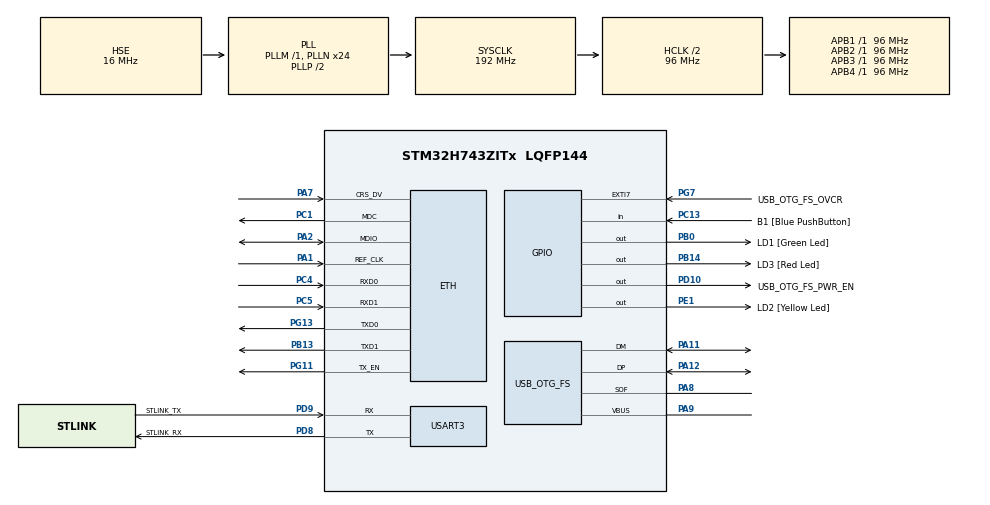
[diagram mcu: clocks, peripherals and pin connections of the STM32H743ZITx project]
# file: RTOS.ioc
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ETH.MediaInterface=HAL_ETH_RMII_MODE
Mcu.Family=STM32H7
Mcu.Name=STM32H743ZITx
Mcu.Package=LQFP144
NVIC.PriorityGroup=NVIC_PRIORITYGROUP_4
NVIC.TIM6_DAC_IRQn=true\:0\:0\:false\:false\:true\:false\:true
NVIC.TimeBase=TIM6_DAC_IRQn
NVIC.TimeBaseIP=TIM6
PA1.Mode=RMII
PA1.Signal=ETH_REF_CLK
PA11.Mode=Device_Only
PA11.Signal=USB_OTG_FS_DM
PA12.Mode=Device_Only
PA12.Signal=USB_OTG_FS_DP
PA2.Mode=RMII
PA2.Signal=ETH_MDIO
PA7.Mode=RMII
PA7.Signal=ETH_CRS_DV
PA8.Mode=Activate_SOF_FS
PA8.Signal=USB_OTG_FS_SOF
PA9.Mode=Activate_VBUS
PA9.Signal=USB_OTG_FS_VBUS
PB0.GPIO_Label=LD1 [Green Led]
PB0.Signal=GPIO_Output
PB13.Mode=RMII
PB13.Signal=ETH_TXD1
PB14.GPIO_Label=LD3 [Red Led]
PB14.Signal=GPIO_Output
PC1.Mode=RMII
PC1.Signal=ETH_MDC
PC13.GPIO_Label=B1 [Blue PushButton]
PC13.Signal=GPIO_Input
PC14-OSC32_IN\ (OSC32_IN).Mode=LSE-External-Oscillator
PC14-OSC32_IN\ (OSC32_IN).Signal=RCC_OSC32_IN
PC15-OSC32_OUT\ (OSC32_OUT).Mode=LSE-External-Oscillator
PC15-OSC32_OUT\ (OSC32_OUT).Signal=RCC_OSC32_OUT
PC4.Mode=RMII
PC4.Signal=ETH_RXD0
PC5.Mode=RMII
PC5.Signal=ETH_RXD1
PD10.GPIO_Label=USB_OTG_FS_PWR_EN
PD10.Signal=GPIO_Output
PD8.GPIO_Label=STLINK_RX
PD8.Mode=Asynchronous
PD8.Signal=USART3_TX
PD9.GPIO_Label=STLINK_TX
PD9.Mode=Asynchronous
PD9.Signal=USART3_RX
PE1.GPIO_Label=LD2 [Yellow Led]
PE1.Signal=GPIO_Output
PG11.Mode=RMII
PG11.Signal=ETH_TX_EN
PG13.Mode=RMII
PG13.Signal=ETH_TXD0
PG7.GPIO_Label=USB_OTG_FS_OVCR
PG7.Signal=GPXTI7
PH0-OSC_IN\ (PH0).Mode=HSE-External-Oscillator
PH0-OSC_IN\ (PH0).Signal=RCC_OSC_IN
PH1-OSC_OUT\ (PH1).Mode=HSE-External-Oscillator
PH1-OSC_OUT\ (PH1).Signal=RCC_OSC_OUT
ProjectManager.HeapSize=0x200
ProjectManager.StackSize=0x400
ProjectManager.TargetToolchain=SW4STM32
RCC.ADCFreq_Value=32250000
RCC.APB1Freq_Value=96000000
RCC.APB2Freq_Value=96000000
RCC.APB3Freq_Value=96000000
RCC.APB4Freq_Value=96000000
RCC.CortexFreq_Value=192000000
RCC.DIVM1=1
RCC.DIVM3=1
RCC.DIVN1=24
RCC.DIVN3=12
RCC.DIVQ1=4
RCC.DIVQ3=4
RCC.HCLKFreq_Value=96000000
RCC.HPRE=RCC_HCLK_DIV2
RCC.HSE_VALUE=16000000
RCC.PLL3FRACN=0
RCC.PLLFRACN=0
RCC.SYSCLKFreq_VALUE=192000000
RCC.SYSCLKSource=RCC_SYSCLKSOURCE_PLLCLK
RCC.USBCLockSelection=RCC_USBCLKSOURCE_PLL3
RCC.USBFreq_Value=48000000
USART3.VirtualMode-Asynchronous=VM_ASYNC
USB_OTG_FS.VirtualMode=Device_Only
VP_SYS_VS_tim6.Mode=TIM6
board=NUCLEO-H743ZI2

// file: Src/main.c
/* USER CODE BEGIN Header */
/**
  ******************************************************************************
  * @file           : main.c
  * @brief          : Main program body
  ******************************************************************************
  * @attention
  *
  * <h2><center>&copy; Copyright (c) 2020 STMicroelectronics.
  * All rights reserved.</center></h2>
  *
  * This software component is licensed by ST under BSD 3-Clause license,
  * the "License"; You may not use this file except in compliance with the
  * License. You may obtain a copy of the License at:
  *                        opensource.org/licenses/BSD-3-Clause
  *
  ******************************************************************************
  */
/* USER CODE END Header */

#include "main.h"
#include "string.h"

/* USER CODE BEGIN Includes */
#include "FreeRTOS.h"
#include "task.h"
/* USER CODE END Includes */

#if defined ( __ICCARM__ ) /*!< IAR Compiler */

#pragma location=0x30040000
ETH_DMADescTypeDef  DMARxDscrTab[ETH_RX_DESC_CNT]; /* Ethernet Rx DMA Descriptors */
#pragma location=0x30040060
ETH_DMADescTypeDef  DMATxDscrTab[ETH_TX_DESC_CNT]; /* Ethernet Tx DMA Descriptors */
#pragma location=0x30040200
uint8_t Rx_Buff[ETH_RX_DESC_CNT][ETH_MAX_PACKET_SIZE]; /* Ethernet Receive Buffers */

#elif defined ( __CC_ARM )  /* MDK ARM Compiler */

__attribute__((at(0x30040000))) ETH_DMADescTypeDef  DMARxDscrTab[ETH_RX_DESC_CNT]; /* Ethernet Rx DMA Descriptors */
__attribute__((at(0x30040060))) ETH_DMADescTypeDef  DMATxDscrTab[ETH_TX_DESC_CNT]; /* Ethernet Tx DMA Descriptors */
__attribute__((at(0x30040200))) uint8_t Rx_Buff[ETH_RX_DESC_CNT][ETH_MAX_PACKET_SIZE]; /* Ethernet Receive Buffer */

#elif defined ( __GNUC__ ) /* GNU Compiler */

ETH_DMADescTypeDef DMARxDscrTab[ETH_RX_DESC_CNT] __attribute__((section(".RxDecripSection"))); /* Ethernet Rx DMA Descriptors */
ETH_DMADescTypeDef DMATxDscrTab[ETH_TX_DESC_CNT] __attribute__((section(".TxDecripSection")));   /* Ethernet Tx DMA Descriptors */
uint8_t Rx_Buff[ETH_RX_DESC_CNT][ETH_MAX_PACKET_SIZE] __attribute__((section(".RxArraySection"))); /* Ethernet Receive Buffers */

#endif

ETH_TxPacketConfig TxConfig;

ETH_HandleTypeDef heth;

UART_HandleTypeDef huart3;

PCD_HandleTypeDef hpcd_USB_OTG_FS;

/* USER CODE BEGIN PV */

static void prvSetupUART();
static void prvSetupHardware(void);
void printmsg(char *msg);
TaskHandle_t xTaskHandle1 = NULL;
TaskHandle_t xTaskHandle2 = NULL;
TaskHandle_t xTaskHandle3 = NULL;
void vTask1_handler(void *params);
void vTask1_handler(void *params);
void vTask3_handler(void *params);
#ifdef USE_SEMIHOSTING
	extern void initialise_monitor_handles();
#endif

#define AVAILABLE 1
#define NOT_AVAILABLE 0
unsigned int UART_ACCESS_KEY = AVAILABLE;
/* USER CODE END PV */

void SystemClock_Config(void);
static void MX_GPIO_Init(void);
static void MX_ETH_Init(void);
static void MX_USART3_UART_Init(void);
static void MX_USB_OTG_FS_PCD_Init(void);

/* USER CODE BEGIN 0 */
void vTask1_handler(void *params){

	while(1){
		if (UART_ACCESS_KEY == AVAILABLE) {
			UART_ACCESS_KEY = NOT_AVAILABLE;

			HAL_GPIO_TogglePin(LD2_GPIO_Port,LD2_Pin);
			printmsg("Hello world, my name is sanjay.\n");
			//vTaskDelay(20);
			UART_ACCESS_KEY = AVAILABLE;
		}
	}

}

void vTask2_handler(void *params){

	while(1){
		if (UART_ACCESS_KEY == AVAILABLE) {
			UART_ACCESS_KEY = NOT_AVAILABLE;
			HAL_GPIO_TogglePin(LD1_GPIO_Port,LD1_Pin);
			printmsg("Hello india\n");
			//vTaskDelay(20);
			UART_ACCESS_KEY = AVAILABLE;
			taskYIELD();
		}
	}
}

void vTask3_handler(void *params){
	while(1){
		if (UART_ACCESS_KEY == AVAILABLE) {
			UART_ACCESS_KEY = NOT_AVAILABLE;

			if(HAL_GPIO_ReadPin(B1_GPIO_Port, B1_Pin)){
				printmsg("hii \n");

			}
			vTaskDelay(2);
			HAL_GPIO_TogglePin(LD3_GPIO_Port,LD3_Pin);
			UART_ACCESS_KEY = AVAILABLE;
			taskYIELD();
		}
	}
}

static void prvSetupUART(void){
	 GPIO_InitTypeDef GPIO_USART3 = {0};

   __HAL_RCC_USART3_CLK_ENABLE();

   __HAL_RCC_GPIOD_CLK_ENABLE();
   /**USART3 GPIO Configuration
   PD8     ------> USART3_TX
   PD9     ------> USART3_RX
   */
   GPIO_USART3.Pin = STLINK_RX_Pin|STLINK_TX_Pin;
   GPIO_USART3.Mode = GPIO_MODE_AF_PP;
   GPIO_USART3.Pull = GPIO_NOPULL;
   GPIO_USART3.Speed = GPIO_SPEED_FREQ_LOW;
   GPIO_USART3.Alternate = GPIO_AF7_USART3;
   HAL_GPIO_Init(GPIOD, &GPIO_USART3);

   MX_USART3_UART_Init();
}

static void prvSetupHardware(void){

	prvSetupUART();
}

void printmsg(char *msg){

	for(int i=0; i < strlen(msg); i++){
//		UART_WaitOnFlagUntilTimeout(&huart3,UART_FLAG_TXE, SET, 0, 100);
		HAL_UART_Transmit(&huart3, &msg[i],1,10);
	}
#ifdef USE_SEMIHOSTING
	printf(&msg);
#endif
}

char usr_msg[250];
/* USER CODE END 0 */

int main(void)
{
  /* USER CODE BEGIN 1 */
#ifdef USE_SEMIHOSTING
	initialise_monitor_handles();
	printf("Semihosting enabled");
#endif
	DWT->CTRL |= (1<<0);
  /* USER CODE END 1 */

  /* MCU Configuration--------------------------------------------------------*/

  /* Reset of all peripherals, Initializes the Flash interface and the Systick. */
  HAL_Init();

  /* Configure the system clock */
  SystemClock_Config();

  /* Initialize all configured peripherals */
  MX_GPIO_Init();
  MX_ETH_Init();
  MX_USART3_UART_Init();
  MX_USB_OTG_FS_PCD_Init();
  /* USER CODE BEGIN 2 */

  //Start recording in SEGGER
  SEGGER_SYSVIEW_Conf();
  SEGGER_SYSVIEW_Start();

  prvSetupHardware();
  sprintf(usr_msg, "HELLO, new message \r\n");
  printmsg(usr_msg);

  xTaskCreate(vTask1_handler, "Task_Blink1", configMINIMAL_STACK_SIZE, NULL, 1, &xTaskHandle1 );
  xTaskCreate(vTask2_handler, "Task_Blink2", configMINIMAL_STACK_SIZE, NULL, 2, &xTaskHandle2 );
  xTaskCreate(vTask3_handler, "Task_Blink3", configMINIMAL_STACK_SIZE, NULL, 2, &xTaskHandle3 );

  vTaskStartScheduler();

  /* USER CODE END 2 */

  /* Infinite loop */
  while (1)
  {
//	  HAL_Delay(500);
//	  HAL_GPIO_TogglePin(LD1_GPIO_Port,LD1_Pin);
  }
}

void SystemClock_Config(void)
{
  RCC_OscInitTypeDef RCC_OscInitStruct = {0};
  RCC_ClkInitTypeDef RCC_ClkInitStruct = {0};
  RCC_PeriphCLKInitTypeDef PeriphClkInitStruct = {0};

  /** Supply configuration update enable
  */
  HAL_PWREx_ConfigSupply(PWR_LDO_SUPPLY);
  /** Configure the main internal regulator output voltage
  */
  __HAL_PWR_VOLTAGESCALING_CONFIG(PWR_REGULATOR_VOLTAGE_SCALE3);

  while(!__HAL_PWR_GET_FLAG(PWR_FLAG_VOSRDY)) {}
  /** Macro to configure the PLL clock source
  */
  __HAL_RCC_PLL_PLLSOURCE_CONFIG(RCC_PLLSOURCE_HSE);
  /** Initializes the CPU, AHB and APB busses clocks
  */
  RCC_OscInitStruct.OscillatorType = RCC_OSCILLATORTYPE_HSE;
  RCC_OscInitStruct.HSEState = RCC_HSE_ON;
  RCC_OscInitStruct.PLL.PLLState = RCC_PLL_ON;
  RCC_OscInitStruct.PLL.PLLSource = RCC_PLLSOURCE_HSE;
  RCC_OscInitStruct.PLL.PLLM = 1;
  RCC_OscInitStruct.PLL.PLLN = 24;
  RCC_OscInitStruct.PLL.PLLP = 2;
  RCC_OscInitStruct.PLL.PLLQ = 4;
  RCC_OscInitStruct.PLL.PLLR = 2;
  RCC_OscInitStruct.PLL.PLLRGE = RCC_PLL1VCIRANGE_3;
  RCC_OscInitStruct.PLL.PLLVCOSEL = RCC_PLL1VCOWIDE;
  RCC_OscInitStruct.PLL.PLLFRACN = 0;
  if (HAL_RCC_OscConfig(&RCC_OscInitStruct) != HAL_OK)
  {
    Error_Handler();
  }
  /** Initializes the CPU, AHB and APB busses clocks
  */
  RCC_ClkInitStruct.ClockType = RCC_CLOCKTYPE_HCLK|RCC_CLOCKTYPE_SYSCLK
                              |RCC_CLOCKTYPE_PCLK1|RCC_CLOCKTYPE_PCLK2
                              |RCC_CLOCKTYPE_D3PCLK1|RCC_CLOCKTYPE_D1PCLK1;
  RCC_ClkInitStruct.SYSCLKSource = RCC_SYSCLKSOURCE_PLLCLK;
  RCC_ClkInitStruct.SYSCLKDivider = RCC_SYSCLK_DIV1;
  RCC_ClkInitStruct.AHBCLKDivider = RCC_HCLK_DIV2;
  RCC_ClkInitStruct.APB3CLKDivider = RCC_APB3_DIV1;
  RCC_ClkInitStruct.APB1CLKDivider = RCC_APB1_DIV1;
  RCC_ClkInitStruct.APB2CLKDivider = RCC_APB2_DIV1;
  RCC_ClkInitStruct.APB4CLKDivider = RCC_APB4_DIV1;

  if (HAL_RCC_ClockConfig(&RCC_ClkInitStruct, FLASH_LATENCY_1) != HAL_OK)
  {
    Error_Handler();
  }
  PeriphClkInitStruct.PeriphClockSelection = RCC_PERIPHCLK_USART3|RCC_PERIPHCLK_USB;
  PeriphClkInitStruct.PLL3.PLL3M = 1;
  PeriphClkInitStruct.PLL3.PLL3N = 12;
  PeriphClkInitStruct.PLL3.PLL3P = 2;
  PeriphClkInitStruct.PLL3.PLL3Q = 4;
  PeriphClkInitStruct.PLL3.PLL3R = 2;
  PeriphClkInitStruct.PLL3.PLL3RGE = RCC_PLL3VCIRANGE_3;
  PeriphClkInitStruct.PLL3.PLL3VCOSEL = RCC_PLL3VCOWIDE;
  PeriphClkInitStruct.PLL3.PLL3FRACN = 0;
  PeriphClkInitStruct.Usart234578ClockSelection = RCC_USART234578CLKSOURCE_D2PCLK1;
  PeriphClkInitStruct.UsbClockSelection = RCC_USBCLKSOURCE_PLL3;
  if (HAL_RCCEx_PeriphCLKConfig(&PeriphClkInitStruct) != HAL_OK)
  {
    Error_Handler();
  }
  /** Enable USB Voltage detector
  */
  HAL_PWREx_EnableUSBVoltageDetector();
}

static void MX_ETH_Init(void)
{

  heth.Instance = ETH;
  heth.Init.MACAddr[0] =   0x00;
  heth.Init.MACAddr[1] =   0x80;
  heth.Init.MACAddr[2] =   0xE1;
  heth.Init.MACAddr[3] =   0x00;
  heth.Init.MACAddr[4] =   0x00;
  heth.Init.MACAddr[5] =   0x00;
  heth.Init.MediaInterface = HAL_ETH_RMII_MODE;
  heth.Init.TxDesc = DMATxDscrTab;
  heth.Init.RxDesc = DMARxDscrTab;
  heth.Init.RxBuffLen = 1524;

  if (HAL_ETH_Init(&heth) != HAL_OK)
  {
    Error_Handler();
  }

  memset(&TxConfig, 0 , sizeof(ETH_TxPacketConfig));
  TxConfig.Attributes = ETH_TX_PACKETS_FEATURES_CSUM | ETH_TX_PACKETS_FEATURES_CRCPAD;
  TxConfig.ChecksumCtrl = ETH_CHECKSUM_IPHDR_PAYLOAD_INSERT_PHDR_CALC;
  TxConfig.CRCPadCtrl = ETH_CRC_PAD_INSERT;

}

static void MX_USART3_UART_Init(void)
{

  huart3.Instance = USART3;
  huart3.Init.BaudRate = 115200;
  huart3.Init.WordLength = UART_WORDLENGTH_8B;
  huart3.Init.StopBits = UART_STOPBITS_1;
  huart3.Init.Parity = UART_PARITY_NONE;
  huart3.Init.Mode = UART_MODE_TX_RX;
  huart3.Init.HwFlowCtl = UART_HWCONTROL_NONE;
  huart3.Init.OverSampling = UART_OVERSAMPLING_16;
  huart3.Init.OneBitSampling = UART_ONE_BIT_SAMPLE_DISABLE;
  huart3.Init.ClockPrescaler = UART_PRESCALER_DIV1;
  huart3.AdvancedInit.AdvFeatureInit = UART_ADVFEATURE_NO_INIT;
  if (HAL_UART_Init(&huart3) != HAL_OK)
  {
    Error_Handler();
  }
  if (HAL_UARTEx_SetTxFifoThreshold(&huart3, UART_TXFIFO_THRESHOLD_1_8) != HAL_OK)
  {
    Error_Handler();
  }
  if (HAL_UARTEx_SetRxFifoThreshold(&huart3, UART_RXFIFO_THRESHOLD_1_8) != HAL_OK)
  {
    Error_Handler();
  }
  if (HAL_UARTEx_DisableFifoMode(&huart3) != HAL_OK)
  {
    Error_Handler();
  }

}

static void MX_USB_OTG_FS_PCD_Init(void)
{

  hpcd_USB_OTG_FS.Instance = USB_OTG_FS;
  hpcd_USB_OTG_FS.Init.dev_endpoints = 9;
  hpcd_USB_OTG_FS.Init.speed = PCD_SPEED_FULL;
  hpcd_USB_OTG_FS.Init.dma_enable = DISABLE;
  hpcd_USB_OTG_FS.Init.phy_itface = PCD_PHY_EMBEDDED;
  hpcd_USB_OTG_FS.Init.Sof_enable = ENABLE;
  hpcd_USB_OTG_FS.Init.low_power_enable = DISABLE;
  hpcd_USB_OTG_FS.Init.lpm_enable = DISABLE;
  hpcd_USB_OTG_FS.Init.battery_charging_enable = ENABLE;
  hpcd_USB_OTG_FS.Init.vbus_sensing_enable = ENABLE;
  hpcd_USB_OTG_FS.Init.use_dedicated_ep1 = DISABLE;
  if (HAL_PCD_Init(&hpcd_USB_OTG_FS) != HAL_OK)
  {
    Error_Handler();
  }

}

static void MX_GPIO_Init(void)
{
  GPIO_InitTypeDef GPIO_InitStruct = {0};

  /* GPIO Ports Clock Enable */
  __HAL_RCC_GPIOC_CLK_ENABLE();
  __HAL_RCC_GPIOH_CLK_ENABLE();
  __HAL_RCC_GPIOA_CLK_ENABLE();
  __HAL_RCC_GPIOB_CLK_ENABLE();
  __HAL_RCC_GPIOD_CLK_ENABLE();
  __HAL_RCC_GPIOG_CLK_ENABLE();
  __HAL_RCC_GPIOE_CLK_ENABLE();

  /*Configure GPIO pin Output Level */
  HAL_GPIO_WritePin(GPIOB, LD1_Pin|LD3_Pin, GPIO_PIN_RESET);

  /*Configure GPIO pin Output Level */
  HAL_GPIO_WritePin(USB_OTG_FS_PWR_EN_GPIO_Port, USB_OTG_FS_PWR_EN_Pin, GPIO_PIN_RESET);

  /*Configure GPIO pin Output Level */
  HAL_GPIO_WritePin(LD2_GPIO_Port, LD2_Pin, GPIO_PIN_RESET);

  /*Configure GPIO pin : B1_Pin */
  GPIO_InitStruct.Pin = B1_Pin;
  GPIO_InitStruct.Mode = GPIO_MODE_INPUT;
  GPIO_InitStruct.Pull = GPIO_NOPULL;
  HAL_GPIO_Init(B1_GPIO_Port, &GPIO_InitStruct);

  /*Configure GPIO pins : LD1_Pin LD3_Pin */
  GPIO_InitStruct.Pin = LD1_Pin|LD3_Pin;
  GPIO_InitStruct.Mode = GPIO_MODE_OUTPUT_PP;
  GPIO_InitStruct.Pull = GPIO_NOPULL;
  GPIO_InitStruct.Speed = GPIO_SPEED_FREQ_LOW;
  HAL_GPIO_Init(GPIOB, &GPIO_InitStruct);

  /*Configure GPIO pin : USB_OTG_FS_PWR_EN_Pin */
  GPIO_InitStruct.Pin = USB_OTG_FS_PWR_EN_Pin;
  GPIO_InitStruct.Mode = GPIO_MODE_OUTPUT_PP;
  GPIO_InitStruct.Pull = GPIO_NOPULL;
  GPIO_InitStruct.Speed = GPIO_SPEED_FREQ_LOW;
  HAL_GPIO_Init(USB_OTG_FS_PWR_EN_GPIO_Port, &GPIO_InitStruct);

  /*Configure GPIO pin : USB_OTG_FS_OVCR_Pin */
  GPIO_InitStruct.Pin = USB_OTG_FS_OVCR_Pin;
  GPIO_InitStruct.Mode = GPIO_MODE_IT_RISING;
  GPIO_InitStruct.Pull = GPIO_NOPULL;
  HAL_GPIO_Init(USB_OTG_FS_OVCR_GPIO_Port, &GPIO_InitStruct);

  /*Configure GPIO pin : LD2_Pin */
  GPIO_InitStruct.Pin = LD2_Pin;
  GPIO_InitStruct.Mode = GPIO_MODE_OUTPUT_PP;
  GPIO_InitStruct.Pull = GPIO_NOPULL;
  GPIO_InitStruct.Speed = GPIO_SPEED_FREQ_LOW;
  HAL_GPIO_Init(LD2_GPIO_Port, &GPIO_InitStruct);

}

void HAL_TIM_PeriodElapsedCallback(TIM_HandleTypeDef *htim)
{
  if (htim->Instance == TIM6) {
    HAL_IncTick();
  }
}

void Error_Handler(void)
{
}

/************************ (C) COPYRIGHT STMicroelectronics *****END OF FILE****/
